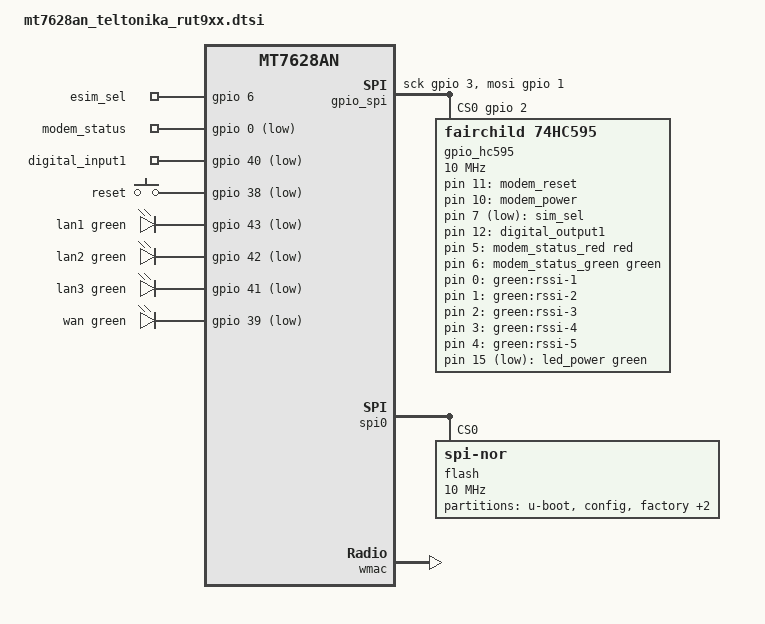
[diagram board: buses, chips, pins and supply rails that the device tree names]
// SPDX-License-Identifier: GPL-2.0-or-later OR MIT

#include <dt-bindings/input/input.h>
#include <dt-bindings/gpio/gpio.h>
#include <dt-bindings/leds/common.h>
#include "mt7628an.dtsi"

/ {
	chosen {
		bootargs = "console=ttyS0,115200";
	};

	aliases {
		led-boot = &led_power;
		led-failsafe = &led_power;
		led-upgrade = &led_power;
		led-running = &led_power;
	};

	gpio_spi {
		compatible = "spi-gpio";
		#address-cells = <1>;
		#size-cells = <0>;

		sck-gpios = <&gpio 3 GPIO_ACTIVE_HIGH>;
		mosi-gpios = <&gpio 1 GPIO_ACTIVE_HIGH>;
		cs-gpios = <&gpio 2 GPIO_ACTIVE_HIGH>;
		num-chipselects = <1>;

		gpio_hc595: gpio_hc595@0 {
			compatible = "fairchild,74hc595";
			reg = <0>;
			gpio-controller;
			#gpio-cells = <2>;
			registers-number = <2>;
			spi-max-frequency = <10000000>;
		};
	};

	gpio-export {
		compatible = "gpio-export";

		gpio_modem_reset {
			gpio-export,name = "modem_reset";
			gpio-export,output = <0>;
			gpios = <&gpio_hc595 11 GPIO_ACTIVE_HIGH>;
		};

		gpio_modem_power {
			gpio-export,name = "modem_power";
			gpio-export,output = <0>;
			gpios = <&gpio_hc595 10 GPIO_ACTIVE_HIGH>;
		};

		gpio_sim_select {
			gpio-export,name = "sim_sel";
			gpio-export,output = <0>;
			gpios = <&gpio_hc595 7 GPIO_ACTIVE_LOW>;
		};

		gpio_esim_select {
			gpio-export,name = "esim_sel";
			gpio-export,output = <0>;
			gpios = <&gpio 6 GPIO_ACTIVE_HIGH>;
		};

		gpio_modem_status {
			gpio-export,name = "modem_status";
			gpio-export,input = <0>;
			gpios = <&gpio 0 GPIO_ACTIVE_LOW>;
		};

		gpio_din1 {
			gpio-export,name = "digital_input1";
			gpio-export,input = <0>;
			gpios = <&gpio 40 GPIO_ACTIVE_LOW>;
		};

		gpio_dout1 {
			gpio-export,name = "digital_output1";
			gpio-export,output = <0>;
			gpios = <&gpio_hc595 12 GPIO_ACTIVE_HIGH>;
		};
	};

	keys {
		compatible = "gpio-keys";

		reset {
			label = "reset";
			linux,code = <KEY_RESTART>;
			gpios = <&gpio 38 GPIO_ACTIVE_LOW>;
		};
	};

	leds {
		compatible = "gpio-leds";

		lan1 {
			function = LED_FUNCTION_LAN;
			color = <LED_COLOR_ID_GREEN>;
			function-enumerator = <1>;
			gpios = <&gpio 43 GPIO_ACTIVE_LOW>;
		};

		lan2 {
			function = LED_FUNCTION_LAN;
			color = <LED_COLOR_ID_GREEN>;
			function-enumerator = <2>;
			gpios = <&gpio 42 GPIO_ACTIVE_LOW>;
		};

		lan3 {
			function = LED_FUNCTION_LAN;
			color = <LED_COLOR_ID_GREEN>;
			function-enumerator = <3>;
			gpios = <&gpio 41 GPIO_ACTIVE_LOW>;
		};

		wan {
			function = LED_FUNCTION_WAN;
			color = <LED_COLOR_ID_GREEN>;
			gpios = <&gpio 39 GPIO_ACTIVE_LOW>;
		};

		modem_status_red {
			function = LED_FUNCTION_STATUS;
			color = <LED_COLOR_ID_RED>;
			gpios = <&gpio_hc595 5 GPIO_ACTIVE_HIGH>;
		};

		modem_status_green {
			function = LED_FUNCTION_STATUS;
			color = <LED_COLOR_ID_GREEN>;
			gpios = <&gpio_hc595 6 GPIO_ACTIVE_HIGH>;
		};

		rssi1{
			label = "green:rssi-1";
			gpios = <&gpio_hc595 0 GPIO_ACTIVE_HIGH>;
		};

		rssi2 {
			label = "green:rssi-2";
			gpios = <&gpio_hc595 1 GPIO_ACTIVE_HIGH>;
		};

		rssi3 {
			label = "green:rssi-3";
			gpios = <&gpio_hc595 2 GPIO_ACTIVE_HIGH>;
		};

		rssi4 {
			label = "green:rssi-4";
			gpios = <&gpio_hc595 3 GPIO_ACTIVE_HIGH>;
		};

		rssi5 {
			label = "green:rssi-5";
			gpios = <&gpio_hc595 4 GPIO_ACTIVE_HIGH>;
		};

		led_power: power {
			gpios = <&gpio_hc595 15 GPIO_ACTIVE_LOW>;
			function = LED_FUNCTION_POWER;
			color = <LED_COLOR_ID_GREEN>;
		};
	};
};

&spi0 {
	status = "okay";

	flash@0 {
		compatible = "jedec,spi-nor";
		reg = <0>;
		spi-max-frequency = <10000000>;

		partitions {
			compatible = "fixed-partitions";
			#address-cells = <1>;
			#size-cells = <1>;

			partition@0 {
				label = "u-boot";
				reg = <0x0 0x20000>;
				read-only;
			};

			partition@20000 {
				label = "config";
				reg = <0x020000 0x010000>;
				read-only;

				nvmem-layout {
					compatible = "fixed-layout";
					#address-cells = <1>;
					#size-cells = <1>;

					macaddr_config_0: macaddr@0 {
						reg = <0x0 0x6>;
						compatible = "mac-base";
						#nvmem-cell-cells = <1>;
					};
				};
			};

			partition@30000 {
				label = "factory";
				reg = <0x030000 0x030000>;
				read-only;

				nvmem-layout {
					compatible = "fixed-layout";
					#address-cells = <1>;
					#size-cells = <1>;

					eeprom_factory_0: eeprom@0 {
						reg = <0x20000 0x400>;
					};
				};
			};

			partition@60000 {
				compatible = "denx,uimage";
				label = "firmware";
				reg = <0x060000 0xf10000>;
			};

			partition@f70000 {
				label = "event-log";
				reg = <0xf70000 0x90000>;
			};
		};
	};
};

&state_default {
	gpio {
		groups = "i2s", "p4led_an", "p3led_an", "p2led_an", "p1led_an", "p0led_an", "gpio", "wled_an", "perst", "refclk", "spi cs1";
		function = "gpio";
	};
};

&wmac {
	status = "okay";
	nvmem-cells = <&eeprom_factory_0>, <&macaddr_config_0 2>;
	nvmem-cell-names = "eeprom", "mac-address";
};

&ethernet {
	nvmem-cells = <&macaddr_config_0 0>;
	nvmem-cell-names = "mac-address";
};

&esw {
	mediatek,portmap = <0x2f>;
};
